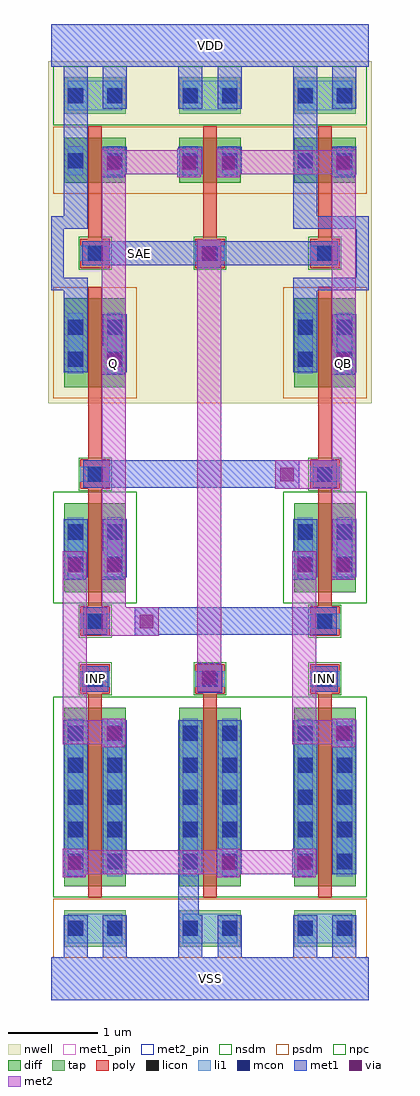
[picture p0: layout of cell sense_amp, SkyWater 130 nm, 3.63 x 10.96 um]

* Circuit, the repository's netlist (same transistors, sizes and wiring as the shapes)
.subckt sense_amp SAE INP INN Q QB VDD VSS
XMP3 Q SAE VDD VDD sky130_fd_pr__pfet_01v8 L=0.15 W=0.5 nf=1
XMP4 QB SAE VDD VDD sky130_fd_pr__pfet_01v8 L=0.15 W=0.5 nf=1
XMP5 QB SAE Q VDD sky130_fd_pr__pfet_01v8 L=0.15 W=0.5 nf=1
XMP1 Q QB VDD VDD sky130_fd_pr__pfet_01v8 L=0.15 W=1 nf=1
XMP2 QB Q VDD VDD sky130_fd_pr__pfet_01v8 L=0.15 W=1 nf=1
XMN1 Q QB FN1 VSS sky130_fd_pr__nfet_01v8 L=0.15 W=1 nf=1
XMN2 QB Q FN2 VSS sky130_fd_pr__nfet_01v8 L=0.15 W=1 nf=1
XMN3 FN1 INP TAIL VSS sky130_fd_pr__nfet_01v8 L=0.15 W=2 nf=1
XMN4 FN2 INN TAIL VSS sky130_fd_pr__nfet_01v8 L=0.15 W=2 nf=1
XMN0 TAIL SAE VSS VSS sky130_fd_pr__nfet_01v8 L=0.15 W=2 nf=1
.ends

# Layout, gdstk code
import gdstk
lib = gdstk.Library(unit=1e-6, precision=1e-09)
def R(c, l, rs):  # rectangles x0, y0, x1, y1
    for r in rs: c.add(gdstk.rectangle(r[:2], r[2:], *l))
def A(c, l, x, y, w, h, nx, ny, dx, dy):  # array of equal rectangles
    R(c, l, [(x+i*dx, y+j*dy, x+i*dx+w, y+j*dy+h) for i in range(nx) for j in range(ny)])
nwell = (64, 20)
diff = (65, 20)
tap = (65, 44)
poly = (66, 20)
licon = (66, 44)
li1 = (67, 20)
mcon = (67, 44)
met1_pin = (68, 16)
met1 = (68, 20)
via = (68, 44)
met2_pin = (69, 16)
met2 = (69, 20)
nsdm = (93, 44)
psdm = (94, 20)
npc = (95, 20)

sense_amp = lib.new_cell('sense_amp')
R(sense_amp, nwell, [(-0.03,6.7,3.6,10.54)])
A(sense_amp, diff, 0.15, 1.28, 0.69, 2, 3, 1, 1.29, 0)
A(sense_amp, diff, 0.15, 9.18, 0.69, 0.5, 3, 1, 1.29, 0)
R(sense_amp, diff, [(0.15,4.58,0.84,5.58), (2.73,4.58,3.42,5.58), (0.15,6.88,0.84,7.88), (2.73,6.88,3.42,7.88)])
A(sense_amp, tap, 0.15, 0.6, 0.69, 0.41, 3, 2, 1.29, 9.35)
A(sense_amp, poly, 0.42, 1.15, 0.15, 2.29, 3, 1, 1.29, 0)
A(sense_amp, poly, 0.33, 3.44, 0.33, 0.33, 3, 2, 1.29, 4.78)
A(sense_amp, poly, 0.42, 8.55, 0.15, 1.26, 3, 1, 1.29, 0)
R(sense_amp, poly, [(0.33,4.09,0.66,4.42), (2.91,4.09,3.24,4.42), (0.42,4.42,0.57,5.74), (3,4.42,3.15,5.74), (0.33,5.74,0.66,6.07), (2.91,5.74,3.24,6.07), (0.42,6.07,0.57,8.01), (3,6.07,3.15,8.01)])
A(sense_amp, licon, 0.19, 1.47, 0.17, 0.17, 1, 5, 0, 0.36)
A(sense_amp, licon, 0.63, 1.47, 0.17, 0.17, 1, 5, 0, 0.36)
A(sense_amp, licon, 1.48, 1.47, 0.17, 0.17, 1, 5, 0, 0.36)
A(sense_amp, licon, 1.92, 1.47, 0.17, 0.17, 1, 5, 0, 0.36)
A(sense_amp, licon, 2.77, 1.47, 0.17, 0.17, 1, 5, 0, 0.36)
A(sense_amp, licon, 3.21, 1.47, 0.17, 0.17, 1, 5, 0, 0.36)
A(sense_amp, licon, 0.41, 3.52, 0.17, 0.17, 3, 2, 1.29, 4.78)
R(sense_amp, licon, [(0.19,0.72,0.36,0.89), (0.63,0.72,0.8,0.89), (1.48,0.72,1.65,0.89), (1.92,0.72,2.09,0.89), (2.77,0.72,2.94,0.89), (3.21,0.72,3.38,0.89), (0.41,4.17,0.58,4.34), (2.99,4.17,3.16,4.34), (0.19,4.81,0.36,4.98), (0.63,4.81,0.8,4.98), (2.77,4.81,2.94,4.98), (3.21,4.81,3.38,4.98), (0.19,5.17,0.36,5.34), (0.63,5.17,0.8,5.34), (2.77,5.17,2.94,5.34), (3.21,5.17,3.38,5.34), (0.41,5.82,0.58,5.99), (2.99,5.82,3.16,5.99), (0.19,7.11,0.36,7.28), (0.63,7.11,0.8,7.28), (2.77,7.11,2.94,7.28), (3.21,7.11,3.38,7.28), (0.19,7.47,0.36,7.64), (0.63,7.47,0.8,7.64), (2.77,7.47,2.94,7.64), (3.21,7.47,3.38,7.64), (0.19,9.34,0.36,9.51), (0.63,9.34,0.8,9.51), (1.48,9.34,1.65,9.51), (1.92,9.34,2.09,9.51), (2.77,9.34,2.94,9.51), (3.21,9.34,3.38,9.51), (0.19,10.07,0.36,10.24), (0.63,10.07,0.8,10.24), (1.48,10.07,1.65,10.24), (1.92,10.07,2.09,10.24), (2.77,10.07,2.94,10.24), (3.21,10.07,3.38,10.24)])
A(sense_amp, li1, 0.19, 0.64, 0.61, 0.33, 3, 2, 1.29, 9.35)
A(sense_amp, li1, 0.33, 3.52, 0.33, 0.17, 3, 2, 1.29, 4.78)
R(sense_amp, li1, [(0.19,1.39,0.36,3.16), (0.63,1.39,0.8,3.16), (1.48,1.39,1.65,3.16), (1.92,1.39,2.09,3.16), (2.77,1.39,2.94,3.16), (3.21,1.39,3.38,3.16), (0.33,4.17,0.66,4.34), (2.91,4.17,3.24,4.34), (0.19,4.73,0.36,5.42), (0.63,4.73,0.8,5.42), (2.77,4.73,2.94,5.42), (3.21,4.73,3.38,5.42), (0.33,5.82,0.66,5.99), (2.91,5.82,3.24,5.99), (0.19,7.03,0.36,7.72), (0.63,7.03,0.8,7.72), (2.77,7.03,2.94,7.72), (3.21,7.03,3.38,7.72), (0.19,9.26,0.36,9.59), (0.63,9.26,0.8,9.59), (1.48,9.26,1.65,9.59), (1.92,9.26,2.09,9.59), (2.77,9.26,2.94,9.59), (3.21,9.26,3.38,9.59)])
A(sense_amp, mcon, 0.19, 1.47, 0.17, 0.17, 1, 5, 0, 0.36)
A(sense_amp, mcon, 0.63, 1.47, 0.17, 0.17, 1, 5, 0, 0.36)
A(sense_amp, mcon, 1.48, 1.47, 0.17, 0.17, 1, 5, 0, 0.36)
A(sense_amp, mcon, 1.92, 1.47, 0.17, 0.17, 1, 5, 0, 0.36)
A(sense_amp, mcon, 2.77, 1.47, 0.17, 0.17, 1, 5, 0, 0.36)
A(sense_amp, mcon, 3.21, 1.47, 0.17, 0.17, 1, 5, 0, 0.36)
A(sense_amp, mcon, 0.41, 3.52, 0.17, 0.17, 3, 2, 1.29, 4.78)
R(sense_amp, mcon, [(0.19,0.72,0.36,0.89), (0.63,0.72,0.8,0.89), (1.48,0.72,1.65,0.89), (1.92,0.72,2.09,0.89), (2.77,0.72,2.94,0.89), (3.21,0.72,3.38,0.89), (0.41,4.17,0.58,4.34), (2.99,4.17,3.16,4.34), (0.19,4.81,0.36,4.98), (0.63,4.81,0.8,4.98), (2.77,4.81,2.94,4.98), (3.21,4.81,3.38,4.98), (0.19,5.17,0.36,5.34), (0.63,5.17,0.8,5.34), (2.77,5.17,2.94,5.34), (3.21,5.17,3.38,5.34), (0.41,5.82,0.58,5.99), (2.99,5.82,3.16,5.99), (0.19,7.11,0.36,7.28), (0.63,7.11,0.8,7.28), (2.77,7.11,2.94,7.28), (3.21,7.11,3.38,7.28), (0.19,7.47,0.36,7.64), (0.63,7.47,0.8,7.64), (2.77,7.47,2.94,7.64), (3.21,7.47,3.38,7.64), (0.19,9.34,0.36,9.51), (0.63,9.34,0.8,9.51), (1.48,9.34,1.65,9.51), (1.92,9.34,2.09,9.51), (2.77,9.34,2.94,9.51), (3.21,9.34,3.38,9.51), (0.19,10.07,0.36,10.24), (0.63,10.07,0.8,10.24), (1.48,10.07,1.65,10.24), (1.92,10.07,2.09,10.24), (2.77,10.07,2.94,10.24), (3.21,10.07,3.38,10.24)])
R(sense_amp, met1_pin, [(0,0,3.57,0.48), (0.35,3.46,0.64,3.75), (2.93,3.46,3.22,3.75), (0.35,8.25,1.64,8.52), (0,10.48,3.57,10.96)])
R(sense_amp, met1, [(0,0,3.57,0.48), (0.14,0.48,0.41,0.95), (0.58,0.48,0.85,0.95), (1.43,0.48,1.7,0.95), (1.87,0.48,2.14,0.95), (2.72,0.48,2.99,0.95), (3.16,0.48,3.43,0.95), (1.43,0.95,1.66,1.41), (0.13,1.38,0.39,1.41), (1.86,1.38,2.12,1.41), (2.71,1.38,2.97,1.41), (0.13,1.41,0.41,1.7), (0.58,1.41,0.85,2.84), (1.43,1.41,1.7,3.14), (1.86,1.41,2.14,1.7), (2.71,1.41,2.99,1.7), (3.16,1.41,3.43,2.84), (0.14,1.7,0.41,3.14), (1.87,1.7,2.14,3.14), (2.72,1.7,2.99,3.14), (0.57,2.84,0.85,3.14), (3.15,2.84,3.43,3.14), (0.57,3.14,0.83,3.16), (3.15,3.14,3.41,3.16), (1.65,3.45,1.92,3.46), (0.35,3.46,0.64,3.75), (1.64,3.46,1.92,3.76), (2.93,3.46,3.22,3.75), (1.64,3.76,1.9,3.78), (0.94,4.09,1.2,4.1), (0.36,4.1,0.63,4.41), (0.94,4.1,3.21,4.41), (0.13,4.72,0.39,4.75), (0.57,4.72,0.83,4.75), (2.71,4.72,2.97,4.75), (3.15,4.72,3.41,4.75), (0.13,4.75,0.41,5.04), (0.57,4.75,0.85,5.04), (2.71,4.75,2.99,5.04), (3.15,4.75,3.43,5.04), (0.14,5.04,0.41,5.4), (0.58,5.04,0.85,5.4), (2.72,5.04,2.99,5.4), (3.16,5.04,3.43,5.4), (2.52,5.74,2.78,5.75), (0.36,5.75,2.79,6.06), (2.94,5.75,3.21,6.06), (0.57,7.02,0.83,7.05), (3.15,7.02,3.41,7.05), (0.14,7.05,0.41,7.97), (0.57,7.05,0.85,7.34), (2.72,7.05,2.99,7.97), (3.15,7.05,3.43,7.34), (0.58,7.34,0.85,7.7), (3.16,7.34,3.43,7.7), (0,7.97,0.41,8.11), (2.72,7.97,3.57,8.11), (0,8.11,0.14,8.66), (3.43,8.11,3.57,8.66), (1.64,8.22,1.9,8.25), (0.35,8.25,3.22,8.52), (1.64,8.52,1.9,8.54), (0,8.66,0.41,8.8), (2.72,8.66,3.57,8.8), (0.14,8.8,0.41,10.48), (2.72,8.8,2.99,10.48), (0.57,9.24,0.83,9.27), (1.42,9.24,1.68,9.27), (1.86,9.24,2.12,9.27), (3.15,9.24,3.41,9.27), (0.57,9.27,0.85,9.56), (1.42,9.27,1.7,9.56), (1.86,9.27,2.14,9.56), (3.15,9.27,3.43,9.56), (0.58,9.56,0.85,9.58), (1.43,9.56,1.7,9.58), (1.87,9.56,2.14,9.58), (3.16,9.56,3.43,9.58), (0.58,10.01,0.85,10.48), (1.43,10.01,1.7,10.48), (1.87,10.01,2.14,10.48), (3.16,10.01,3.43,10.48), (0,10.48,3.57,10.96)])
R(sense_amp, via, [(0.185,1.465,0.335,1.615), (1.915,1.465,2.065,1.615), (2.765,1.465,2.915,1.615), (0.625,2.925,0.775,3.075), (3.205,2.925,3.355,3.075), (1.695,3.545,1.845,3.695), (0.995,4.175,1.145,4.325), (0.185,4.805,0.335,4.955), (0.625,4.805,0.775,4.955), (2.765,4.805,2.915,4.955), (3.205,4.805,3.355,4.955), (2.575,5.825,2.725,5.975), (0.625,7.105,0.775,7.255), (3.205,7.105,3.355,7.255), (1.695,8.305,1.845,8.455), (0.625,9.325,0.775,9.475), (1.475,9.325,1.625,9.475), (1.915,9.325,2.065,9.475), (3.205,9.325,3.355,9.475)])
R(sense_amp, met2_pin, [(0.57,4.75,0.84,9.54), (3.15,4.75,3.42,9.54)])
R(sense_amp, met2, [(0.13,1.38,0.39,1.41), (1.86,1.38,2.12,1.41), (2.71,1.38,2.97,1.41), (0.13,1.41,2.98,1.68), (0.13,1.68,0.39,1.7), (1.86,1.68,2.12,1.7), (2.71,1.68,2.97,1.7), (0.57,2.84,0.83,2.87), (3.15,2.84,3.41,2.87), (0.13,2.87,0.84,3.14), (2.71,2.87,3.42,3.14), (0.13,3.14,0.4,5.02), (0.57,3.14,0.83,3.16), (2.71,3.14,2.98,5.02), (3.15,3.14,3.41,3.16), (1.64,3.46,1.9,3.49), (1.64,3.49,1.91,8.52), (0.57,4.09,1.21,4.41), (0.57,4.41,0.84,9.27), (3.15,4.72,3.41,4.75), (3.15,4.75,3.42,5.74), (0.13,5.02,0.39,5.04), (2.71,5.02,2.97,5.04), (2.52,5.74,3.42,6.06), (3.15,6.06,3.42,9.27), (1.64,8.52,1.9,8.54), (1.42,9.24,1.68,9.27), (1.86,9.24,2.12,9.27), (0.57,9.27,1.69,9.54), (1.86,9.27,3.42,9.54), (0.57,9.54,0.83,9.56), (1.42,9.54,1.68,9.56), (1.86,9.54,2.12,9.56), (3.15,9.54,3.41,9.56)])
R(sense_amp, nsdm, [(0.025,1.155,3.545,3.405), (0.025,4.455,0.965,5.705), (2.605,4.455,3.545,5.705), (0.025,9.825,3.545,10.485)])
R(sense_amp, psdm, [(0.025,0.475,3.545,1.135), (0.025,6.755,0.965,8.005), (2.605,6.755,3.545,8.005), (0.025,9.055,3.545,9.805)])
A(sense_amp, npc, 0.31, 3.42, 0.37, 0.37, 3, 2, 1.29, 4.78)
R(sense_amp, npc, [(0.31,4.07,0.68,4.44), (2.89,4.07,3.26,4.44), (0.31,5.72,0.68,6.09), (2.89,5.72,3.26,6.09)])
sense_amp.add(gdstk.Label('SAE', (0.995,8.385), layer=68, texttype=5))
sense_amp.add(gdstk.Label('INP', (0.495,3.605), layer=68, texttype=5))
sense_amp.add(gdstk.Label('INN', (3.075,3.605), layer=68, texttype=5))
sense_amp.add(gdstk.Label('Q', (0.705,7.145), layer=69, texttype=5))
sense_amp.add(gdstk.Label('QB', (3.285,7.145), layer=69, texttype=5))
sense_amp.add(gdstk.Label('VDD', (1.785,10.72), layer=68, texttype=5))
sense_amp.add(gdstk.Label('VSS', (1.785,0.24), layer=68, texttype=5))

lib.write_gds('sense_amp.gds')
